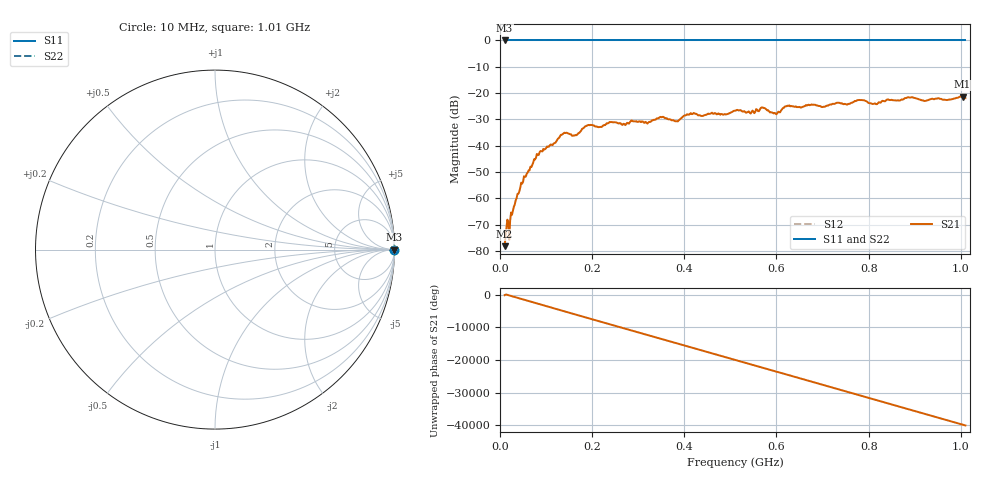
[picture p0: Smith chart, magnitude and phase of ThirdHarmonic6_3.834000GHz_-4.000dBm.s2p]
! 8/17/2025 1:20:16 PM
! C:\ANRITSUVNA\TEMP\TEMP.S2P
! CHANNEL.1
! TR.MEASUREMENT
! RAW.DATA
! RF.CORRECTION.OFF
! AVERAGING.OFF
! IF.BANDWIDTH: 5KHZ
! SWEEPTYPE:  FREQ.SWEEP(Linear)
! Reference Plane Port Info
! PORT:  PORT1  PORT2
! DISTANCE:  0  m  0  m
! TIME:  0  s  0  s
! PHASE.OFFSET:  0  deg.  0  deg.
! LOSS:  0  dB  0  dB
! REF.LOSS:  0  dB  0  dB
! REF.FREQ:  0  Hz  0  Hz
! Power Info
! POWER:  -20  dBm  -20  dBm
! EFF.POWER:  -20  dBm  -20  dBm
! SOURCE.ATTEN:  0  dB  0  dB
! TEST.ATTEN:  0  dB  0  dB
# GHZ S RI R 50.0
! FREQ.GHZ  S11RE  S11IM  S21RE  S21IM  S12RE  S12IM  S22RE  S22IM
!; PortSelection: Port_12
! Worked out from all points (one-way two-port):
!   501 points, 10 MHz to 1.01 GHz, reference 50 ohm
!   highest |S21| = -21.34 dB at 1.004 GHz (marker M1); lowest = -78.2 dB at 10 MHz (marker M2)
!   lowest |S11| = 0.0 dB at 10 MHz (marker M3)
!   |S11| at or under -10 dB: nowhere
!   |S22| runs from 0.0 to 0.0 dB; largest |S21 - S12| = 1.1
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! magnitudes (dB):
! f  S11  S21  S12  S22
! 10 MHz  0.0  -78.2  0.0  0.0
! 14 MHz  0.0  -71.1  0.0  0.0
! 24 MHz  0.0  -65.4  0.0  0.0
! 28 MHz  0.0  -64.7  0.0  0.0
! 48 MHz  0.0  -54.4  0.0  0.0
! 78 MHz  0.0  -44.6  0.0  0.0
! 136 MHz  0.0  -35.6  0.0  0.0
! 162 MHz  0.0  -36.1  0.0  0.0
! 178 MHz  0.0  -33.6  0.0  0.0
! 192 MHz  0.0  -32.1  0.0  0.0
! 322 MHz  0.0  -31.2  0.0  0.0
! 344 MHz  0.0  -29.6  0.0  0.0
! 384 MHz  0.0  -30.7  0.0  0.0
! 410 MHz  0.0  -28.2  0.0  0.0
! 510 MHz  0.0  -26.7  0.0  0.0
! 570 MHz  0.0  -25.5  0.0  0.0
! 598 MHz  0.0  -27.8  0.0  0.0
! 624 MHz  0.0  -24.8  0.0  0.0
! 678 MHz  0.0  -24.4  0.0  0.0
! 844 MHz  0.0  -22.6  0.0  0.0
! 1.004 GHz  0.0  -21.3  0.0  0.0
! 1.01 GHz  0.0  -21.9  0.0  0.0
